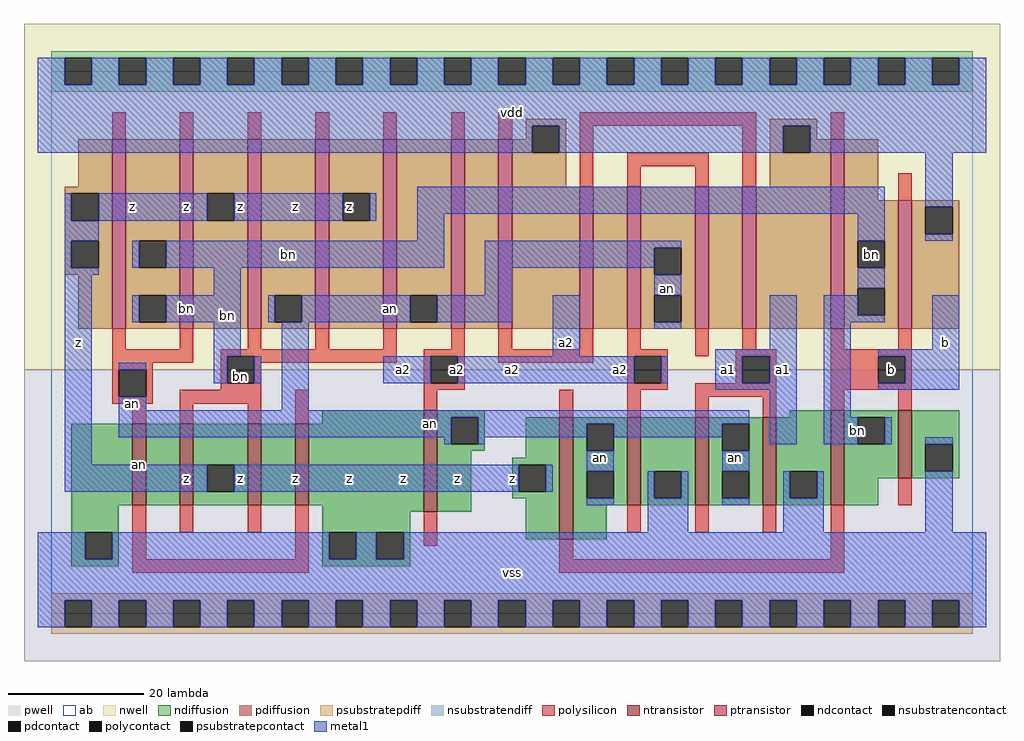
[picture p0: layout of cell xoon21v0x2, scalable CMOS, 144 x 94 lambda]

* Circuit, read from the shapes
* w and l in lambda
.subckt xoon21v0x2 a1 a2 an b bn vdd vss z
M1 n1 an vss vss nfet w=12 l=2
M2 z bn n1 vss nfet w=12 l=2
M3 n2 bn z vss nfet w=12 l=2
M4 vss an n2 vss nfet w=12 l=2
M5 an a2 vss vss nfet w=15 l=2
M6 an b z vss nfet w=18 l=2
M7 vss a2 an vss nfet w=13 l=2
M8 an a1 vss vss nfet w=13 l=2 m=2
M9 bn b vss vss nfet w=14 l=2
M10 vss b bn vss nfet w=10 l=2
M11 bn an z vdd pfet w=28 l=2 m=2
M12 an bn z vdd pfet w=28 l=2 m=3
M13 n3 a2 an vdd pfet w=28 l=2
M14 vdd a1 n3 vdd pfet w=28 l=2
M15 n4 a1 vdd vdd pfet w=21 l=2
M16 an a2 n4 vdd pfet w=21 l=2
M17 n5 a2 an vdd pfet w=21 l=2
M18 vdd a1 n5 vdd pfet w=21 l=2
M19 bn b vdd vdd pfet w=28 l=2
M20 vdd b bn vdd pfet w=19 l=2
.ends

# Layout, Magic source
magic
tech scmos
<< ab >>
rect 0 0 136 80
<< pwell >>
rect -4 -7 140 36
<< nwell >>
rect -4 36 140 87
<< polysilicon >>
rect 9 70 11 74
rect 19 70 21 74
rect 29 70 31 74
rect 39 70 41 74
rect 49 70 51 74
rect 59 70 61 74
rect 66 70 68 74
rect 78 72 104 74
rect 78 63 80 72
rect 85 66 97 68
rect 85 63 87 66
rect 95 63 97 66
rect 102 63 104 72
rect 115 70 117 74
rect 125 61 127 65
rect 9 39 11 42
rect 19 39 21 42
rect 29 39 31 42
rect 39 39 41 42
rect 49 39 51 42
rect 59 39 61 42
rect 9 37 21 39
rect 25 38 51 39
rect 9 36 15 37
rect 9 32 10 36
rect 14 32 15 36
rect 25 34 26 38
rect 30 37 51 38
rect 55 38 61 39
rect 30 34 31 37
rect 25 33 31 34
rect 55 34 56 38
rect 60 34 61 38
rect 66 39 68 42
rect 78 39 80 42
rect 66 37 80 39
rect 85 39 87 42
rect 85 38 91 39
rect 95 38 97 42
rect 102 39 104 42
rect 115 39 117 42
rect 125 39 127 42
rect 101 38 107 39
rect 55 33 61 34
rect 85 34 86 38
rect 90 34 91 38
rect 101 34 102 38
rect 106 34 107 38
rect 85 33 91 34
rect 9 31 15 32
rect 19 31 31 33
rect 12 28 14 31
rect 19 28 21 31
rect 29 28 31 31
rect 36 28 38 33
rect 55 30 57 33
rect 12 8 14 16
rect 19 12 21 16
rect 29 12 31 16
rect 36 8 38 16
rect 12 6 38 8
rect 75 29 77 33
rect 85 29 87 33
rect 95 32 107 34
rect 95 29 97 32
rect 105 29 107 32
rect 115 38 127 39
rect 115 34 122 38
rect 126 34 127 38
rect 115 33 127 34
rect 115 30 117 33
rect 125 30 127 33
rect 55 10 57 15
rect 125 16 127 20
rect 85 12 87 16
rect 95 12 97 16
rect 105 12 107 16
rect 75 8 77 11
rect 115 8 117 16
rect 75 6 117 8
<< ndiffusion >>
rect 40 28 55 30
rect 3 16 12 28
rect 14 16 19 28
rect 21 22 29 28
rect 21 18 23 22
rect 27 18 29 22
rect 21 16 29 18
rect 31 16 36 28
rect 38 16 55 28
rect 3 12 10 16
rect 3 8 5 12
rect 9 8 10 12
rect 3 7 10 8
rect 40 15 55 16
rect 57 29 64 30
rect 109 29 115 30
rect 57 25 59 29
rect 63 25 64 29
rect 57 24 64 25
rect 57 15 62 24
rect 70 23 75 29
rect 68 22 75 23
rect 68 18 69 22
rect 73 18 75 22
rect 68 17 75 18
rect 40 12 53 15
rect 40 8 41 12
rect 45 8 48 12
rect 52 8 53 12
rect 70 11 75 17
rect 77 28 85 29
rect 77 24 79 28
rect 83 24 85 28
rect 77 21 85 24
rect 77 17 79 21
rect 83 17 85 21
rect 77 16 85 17
rect 87 21 95 29
rect 87 17 89 21
rect 93 17 95 21
rect 87 16 95 17
rect 97 28 105 29
rect 97 24 99 28
rect 103 24 105 28
rect 97 21 105 24
rect 97 17 99 21
rect 103 17 105 21
rect 97 16 105 17
rect 107 21 115 29
rect 107 17 109 21
rect 113 17 115 21
rect 107 16 115 17
rect 117 29 125 30
rect 117 25 119 29
rect 123 25 125 29
rect 117 20 125 25
rect 127 25 134 30
rect 127 21 129 25
rect 133 21 134 25
rect 127 20 134 21
rect 117 16 122 20
rect 77 11 82 16
rect 40 7 53 8
<< pdiffusion >>
rect 70 72 76 73
rect 70 70 71 72
rect 4 63 9 70
rect 2 62 9 63
rect 2 58 3 62
rect 7 58 9 62
rect 2 55 9 58
rect 2 51 3 55
rect 7 51 9 55
rect 2 50 9 51
rect 4 42 9 50
rect 11 55 19 70
rect 11 51 13 55
rect 17 51 19 55
rect 11 47 19 51
rect 11 43 13 47
rect 17 43 19 47
rect 11 42 19 43
rect 21 62 29 70
rect 21 58 23 62
rect 27 58 29 62
rect 21 42 29 58
rect 31 47 39 70
rect 31 43 33 47
rect 37 43 39 47
rect 31 42 39 43
rect 41 62 49 70
rect 41 58 43 62
rect 47 58 49 62
rect 41 42 49 58
rect 51 47 59 70
rect 51 43 53 47
rect 57 43 59 47
rect 51 42 59 43
rect 61 42 66 70
rect 68 68 71 70
rect 75 68 76 72
rect 68 63 76 68
rect 106 72 113 73
rect 106 68 108 72
rect 112 70 113 72
rect 112 68 115 70
rect 106 63 115 68
rect 68 42 78 63
rect 80 42 85 63
rect 87 54 95 63
rect 87 50 89 54
rect 93 50 95 54
rect 87 47 95 50
rect 87 43 89 47
rect 93 43 95 47
rect 87 42 95 43
rect 97 42 102 63
rect 104 42 115 63
rect 117 61 122 70
rect 117 55 125 61
rect 117 51 119 55
rect 123 51 125 55
rect 117 48 125 51
rect 117 44 119 48
rect 123 44 125 48
rect 117 42 125 44
rect 127 60 134 61
rect 127 56 129 60
rect 133 56 134 60
rect 127 42 134 56
<< metal1 >>
rect -2 78 2 82
rect 6 78 10 82
rect 14 78 18 82
rect 22 78 26 82
rect 30 78 34 82
rect 38 78 42 82
rect 46 78 50 82
rect 54 78 58 82
rect 62 78 66 82
rect 70 78 74 82
rect 78 78 82 82
rect 86 78 90 82
rect 94 78 98 82
rect 102 78 106 82
rect 110 78 114 82
rect 118 78 122 82
rect 126 78 130 82
rect 134 78 138 82
rect -2 72 138 78
rect -2 68 71 72
rect 75 68 108 72
rect 112 68 138 72
rect 2 58 3 62
rect 7 58 23 62
rect 27 58 43 62
rect 47 58 48 62
rect 54 59 123 63
rect 2 55 7 58
rect 54 55 58 59
rect 119 55 123 59
rect 129 60 133 68
rect 129 55 133 56
rect 2 51 3 55
rect 12 51 13 55
rect 17 51 58 55
rect 64 54 93 55
rect 64 51 89 54
rect 2 50 7 51
rect 2 22 6 50
rect 24 47 28 51
rect 64 47 68 51
rect 89 47 93 50
rect 119 48 123 51
rect 12 43 13 47
rect 17 43 28 47
rect 32 43 33 47
rect 37 43 53 47
rect 57 43 68 47
rect 24 38 28 43
rect 10 36 14 37
rect 24 34 26 38
rect 30 34 31 38
rect 10 30 14 32
rect 34 30 38 43
rect 74 38 78 47
rect 89 42 93 43
rect 106 39 110 47
rect 98 38 110 39
rect 49 34 56 38
rect 60 34 86 38
rect 90 34 91 38
rect 98 34 102 38
rect 106 34 110 38
rect 98 33 110 34
rect 10 29 103 30
rect 10 26 59 29
rect 58 25 59 26
rect 63 28 103 29
rect 63 26 79 28
rect 63 25 64 26
rect 83 26 99 28
rect 2 18 23 22
rect 27 18 69 22
rect 73 18 74 22
rect 79 21 83 24
rect 106 25 110 33
rect 114 44 119 47
rect 114 43 123 44
rect 114 29 118 43
rect 130 39 134 47
rect 122 38 134 39
rect 126 34 134 38
rect 122 33 134 34
rect 114 25 119 29
rect 123 25 124 29
rect 129 25 133 26
rect 99 21 103 24
rect 79 16 83 17
rect 88 17 89 21
rect 93 17 94 21
rect 88 12 94 17
rect 99 16 103 17
rect 108 17 109 21
rect 113 17 114 21
rect 108 12 114 17
rect 129 12 133 21
rect -2 8 5 12
rect 9 8 41 12
rect 45 8 48 12
rect 52 8 138 12
rect -2 2 138 8
rect -2 -2 2 2
rect 6 -2 10 2
rect 14 -2 18 2
rect 22 -2 26 2
rect 30 -2 34 2
rect 38 -2 42 2
rect 46 -2 50 2
rect 54 -2 58 2
rect 62 -2 66 2
rect 70 -2 74 2
rect 78 -2 82 2
rect 86 -2 90 2
rect 94 -2 98 2
rect 102 -2 106 2
rect 110 -2 114 2
rect 118 -2 122 2
rect 126 -2 130 2
rect 134 -2 138 2
<< ntransistor >>
rect 12 16 14 28
rect 19 16 21 28
rect 29 16 31 28
rect 36 16 38 28
rect 55 15 57 30
rect 75 11 77 29
rect 85 16 87 29
rect 95 16 97 29
rect 105 16 107 29
rect 115 16 117 30
rect 125 20 127 30
<< ptransistor >>
rect 9 42 11 70
rect 19 42 21 70
rect 29 42 31 70
rect 39 42 41 70
rect 49 42 51 70
rect 59 42 61 70
rect 66 42 68 70
rect 78 42 80 63
rect 85 42 87 63
rect 95 42 97 63
rect 102 42 104 63
rect 115 42 117 70
rect 125 42 127 61
<< polycontact >>
rect 10 32 14 36
rect 26 34 30 38
rect 56 34 60 38
rect 86 34 90 38
rect 102 34 106 38
rect 122 34 126 38
<< ndcontact >>
rect 23 18 27 22
rect 5 8 9 12
rect 59 25 63 29
rect 69 18 73 22
rect 41 8 45 12
rect 48 8 52 12
rect 79 24 83 28
rect 79 17 83 21
rect 89 17 93 21
rect 99 24 103 28
rect 99 17 103 21
rect 109 17 113 21
rect 119 25 123 29
rect 129 21 133 25
<< pdcontact >>
rect 3 58 7 62
rect 3 51 7 55
rect 13 51 17 55
rect 13 43 17 47
rect 23 58 27 62
rect 33 43 37 47
rect 43 58 47 62
rect 53 43 57 47
rect 71 68 75 72
rect 108 68 112 72
rect 89 50 93 54
rect 89 43 93 47
rect 119 51 123 55
rect 119 44 123 48
rect 129 56 133 60
<< psubstratepcontact >>
rect 2 -2 6 2
rect 10 -2 14 2
rect 18 -2 22 2
rect 26 -2 30 2
rect 34 -2 38 2
rect 42 -2 46 2
rect 50 -2 54 2
rect 58 -2 62 2
rect 66 -2 70 2
rect 74 -2 78 2
rect 82 -2 86 2
rect 90 -2 94 2
rect 98 -2 102 2
rect 106 -2 110 2
rect 114 -2 118 2
rect 122 -2 126 2
rect 130 -2 134 2
<< nsubstratencontact >>
rect 2 78 6 82
rect 10 78 14 82
rect 18 78 22 82
rect 26 78 30 82
rect 34 78 38 82
rect 42 78 46 82
rect 50 78 54 82
rect 58 78 62 82
rect 66 78 70 82
rect 74 78 78 82
rect 82 78 86 82
rect 90 78 94 82
rect 98 78 102 82
rect 106 78 110 82
rect 114 78 118 82
rect 122 78 126 82
rect 130 78 134 82
<< psubstratepdiff >>
rect 0 2 136 3
rect 0 -2 2 2
rect 6 -2 10 2
rect 14 -2 18 2
rect 22 -2 26 2
rect 30 -2 34 2
rect 38 -2 42 2
rect 46 -2 50 2
rect 54 -2 58 2
rect 62 -2 66 2
rect 70 -2 74 2
rect 78 -2 82 2
rect 86 -2 90 2
rect 94 -2 98 2
rect 102 -2 106 2
rect 110 -2 114 2
rect 118 -2 122 2
rect 126 -2 130 2
rect 134 -2 136 2
rect 0 -3 136 -2
<< nsubstratendiff >>
rect 0 82 136 83
rect 0 78 2 82
rect 6 78 10 82
rect 14 78 18 82
rect 22 78 26 82
rect 30 78 34 82
rect 38 78 42 82
rect 46 78 50 82
rect 54 78 58 82
rect 62 78 66 82
rect 70 78 74 82
rect 78 78 82 82
rect 86 78 90 82
rect 94 78 98 82
rect 102 78 106 82
rect 110 78 114 82
rect 118 78 122 82
rect 126 78 130 82
rect 134 78 136 82
rect 0 77 136 78
<< labels >>
rlabel ntransistor 13 22 13 22 6 an
rlabel polycontact 28 35 28 35 6 bn
rlabel metal1 12 20 12 20 6 z
rlabel metal1 20 20 20 20 6 z
rlabel metal1 12 31 12 31 6 an
rlabel metal1 4 40 4 40 6 z
rlabel metal1 12 60 12 60 6 z
rlabel metal1 20 60 20 60 6 z
rlabel metal1 28 20 28 20 6 z
rlabel metal1 36 20 36 20 6 z
rlabel metal1 44 20 44 20 6 z
rlabel metal1 20 45 20 45 6 bn
rlabel metal1 26 44 26 44 6 bn
rlabel metal1 28 60 28 60 6 z
rlabel metal1 36 60 36 60 6 z
rlabel pdcontact 44 60 44 60 6 z
rlabel metal1 68 6 68 6 6 vss
rlabel metal1 52 20 52 20 6 z
rlabel metal1 60 20 60 20 6 z
rlabel metal1 68 20 68 20 6 z
rlabel metal1 52 36 52 36 6 a2
rlabel metal1 50 45 50 45 6 an
rlabel metal1 60 36 60 36 6 a2
rlabel metal1 68 36 68 36 6 a2
rlabel metal1 76 40 76 40 6 a2
rlabel metal1 35 53 35 53 6 bn
rlabel metal1 68 74 68 74 6 vdd
rlabel metal1 101 23 101 23 6 an
rlabel metal1 81 23 81 23 6 an
rlabel metal1 56 28 56 28 6 an
rlabel metal1 84 36 84 36 6 a2
rlabel metal1 100 36 100 36 6 a1
rlabel metal1 108 36 108 36 6 a1
rlabel metal1 91 48 91 48 6 an
rlabel metal1 119 27 119 27 6 bn
rlabel polycontact 124 36 124 36 6 b
rlabel metal1 132 40 132 40 6 b
rlabel pdcontact 121 53 121 53 6 bn
<< end >>
